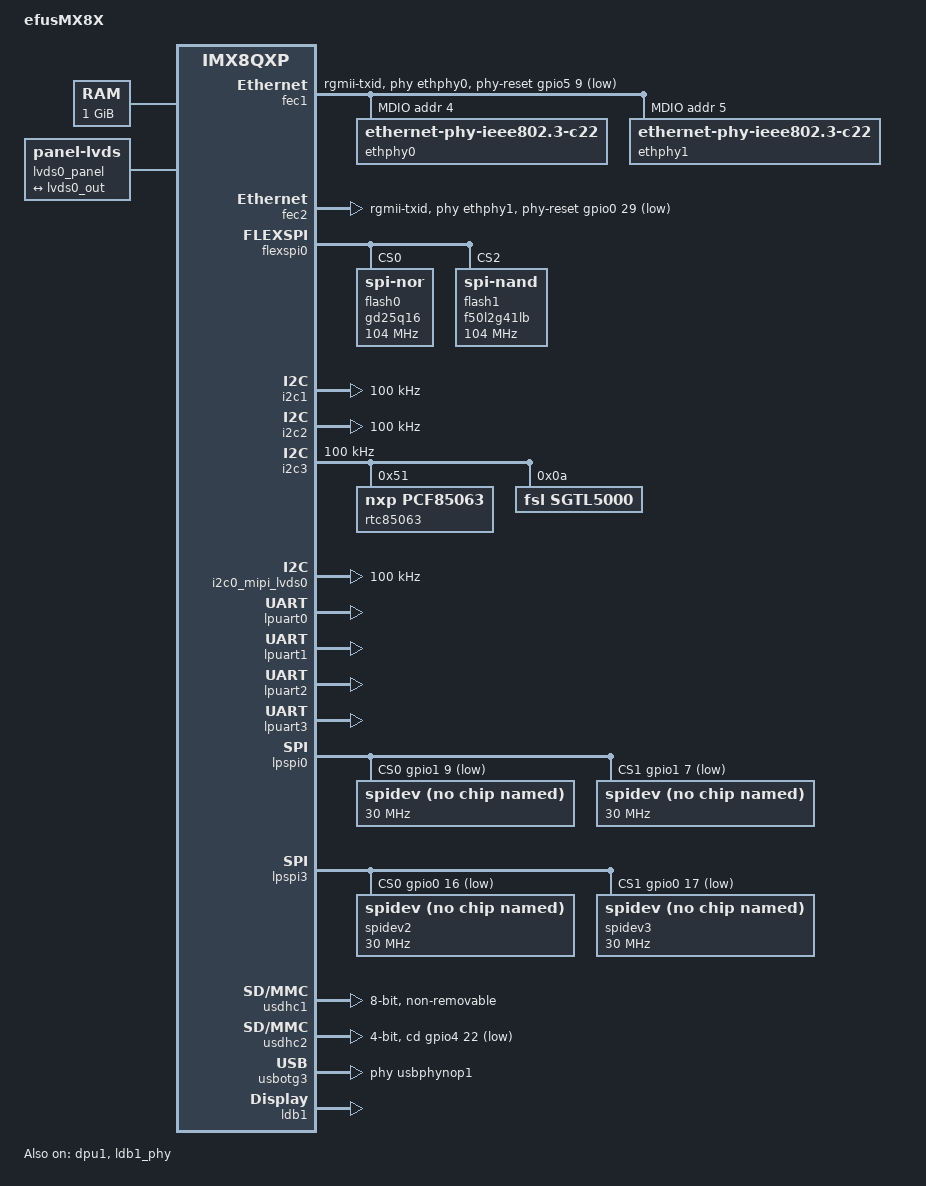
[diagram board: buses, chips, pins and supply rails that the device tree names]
/*
 * Copyright 2017 NXP
 *
 * This program is free software; you can redistribute it and/or
 * modify it under the terms of the GNU General Public License
 * as published by the Free Software Foundation; either version 2
 * of the License, or (at your option) any later version.
 *
 * This program is distributed in the hope that it will be useful,
 * but WITHOUT ANY WARRANTY; without even the implied warranty of
 * MERCHANTABILITY or FITNESS FOR A PARTICULAR PURPOSE.  See the
 * GNU General Public License for more details.
 */

/dts-v1/;

/* First 128KB is for PSCI ATF. */
/* Last 3M is for M4/RPMSG */
/memreserve/ 0x80000000 0x00200000;

#include "fsl-imx8qxp.dtsi"

/ {
	model = "efusMX8X";
	compatible = "fus,efusmx8x", "fsl,imx8qxp";

	chosen {
		bootargs = "console=ttyLP2,115200 earlycon";
		stdout-path = &lpuart2;
	};

	aliases {
		usb0 = &usbg1;
		usb1 = &usbh3;
	};

	memory@80000000 {
		device_type = "memory";
		reg = <0x00000000 0x80000000 0 0x40000000>;
		      /* DRAM space - 1, size : 1 GB DRAM */
	};

	reserved-memory {
		#address-cells = <2>;
		#size-cells = <2>;
		ranges;

		/* global autoconfigured region for contiguous allocations */
		linux,cma {
			compatible = "shared-dma-pool";
			reusable;
			size = <0 0x3c000000>;
			alloc-ranges = <0 0x96000000 0 0x20000000>;
			linux,cma-default;
		};
	};

	regulators {
		u-boot,dm-spl;

		compatible = "simple-bus";
		#address-cells = <1>;
		#size-cells = <0>;
	};

	lvds0_panel {
		compatible = "panel-lvds";
#if 0		
		backlight = <&backlight>;
#endif

		data-mapping = "vesa-24";
		width-mm = <154>;
		height-mm = <86>;

		panel-timing {
			clock-frequency = <33500000>;
			hactive = <800>;
			vactive = <480>;
			hfront-porch = <4>;
			hback-porch = <44>;
			hsync-len = <2>;
			vback-porch = <21>;
			vfront-porch = <11>;
			vsync-len = <2>;
			hsync-active = <0>;
			vsync-active = <0>;
			de-active = <1>;
			pixelclk-active = <0>;
		};

		port {
			panel_lvds0_in: endpoint {
				remote-endpoint = <&lvds0_out>;
			};
		};
	};

	usbg1: usbg1 {
		compatible = "fsl,imx27-usb-gadget";
		dr_mode = "peripheral";
		chipidea,usb = <&usbotg1>;
		status = "okay";
		u-boot,dm-spl;
	};

	usbh3: usbh3 {
		compatible = "Cadence,usb3-host";
		dr_mode = "host";
		cdns3,usb = <&usbotg3>;
		status = "okay";
	};
};

&{/imx8qx-pm} {
	u-boot,dm-spl;
};

&mu {
	u-boot,dm-spl;
};

&clk {
	u-boot,dm-spl;
};

&pd_conn {
	u-boot,dm-spl;
};

&pd_conn_sdch0 {
	u-boot,dm-spl;
};

&pd_conn_usbotg0 {
	u-boot,dm-spl;
};

&pd_conn_usbotg0_phy {
	u-boot,dm-spl;
};

&pd_conn_usb2 {
	u-boot,dm-spl;
};

&pd_conn_usb2_phy {
	u-boot,dm-spl;
};

&pd_dma {
	u-boot,dm-spl;
};

&pd_dma_lpuart2 {
	u-boot,dm-spl;
};

&iomuxc {

	u-boot,dm-spl;

	pinctrl-names = "default";
	pinctrl-0 = <&pinctrl_hog_1>;

	imx8qxp-efusmx8x {

		u-boot,dm-spl;

		pinctrl_hog_1: hoggrp-1 {
			fsl,pins = <
				SC_P_COMP_CTL_GPIO_1V8_3V3_GPIORHB_PAD	0x000514a0
			>;
		};

		pinctrl_fec1: fec1grp {
			fsl,pins = <
				SC_P_COMP_CTL_GPIO_1V8_3V3_ENET_ENETB0_PAD	0x000014a0
				SC_P_COMP_CTL_GPIO_1V8_3V3_ENET_ENETB1_PAD	0x000014a0
				SC_P_ENET0_MDC_CONN_ENET0_MDC				0x06000020
				SC_P_ENET0_MDIO_CONN_ENET0_MDIO				0x06000020
				SC_P_ENET0_RGMII_TX_CTL_CONN_ENET0_RGMII_TX_CTL	0x00000060
				SC_P_ENET0_RGMII_TXC_CONN_ENET0_RGMII_TXC	0x00000060
				SC_P_ENET0_RGMII_TXD0_CONN_ENET0_RGMII_TXD0	0x00000060
				SC_P_ENET0_RGMII_TXD1_CONN_ENET0_RGMII_TXD1	0x00000060
				SC_P_ENET0_RGMII_TXD2_CONN_ENET0_RGMII_TXD2	0x00000060
				SC_P_ENET0_RGMII_TXD3_CONN_ENET0_RGMII_TXD3	0x00000060
				SC_P_ENET0_RGMII_RXC_CONN_ENET0_RGMII_RXC	0x00000060
				SC_P_ENET0_RGMII_RX_CTL_CONN_ENET0_RGMII_RX_CTL	0x00000060
				SC_P_ENET0_RGMII_RXD0_CONN_ENET0_RGMII_RXD0	0x00000060
				SC_P_ENET0_RGMII_RXD1_CONN_ENET0_RGMII_RXD1	0x00000060
				SC_P_ENET0_RGMII_RXD2_CONN_ENET0_RGMII_RXD2	0x00000060
				SC_P_ENET0_RGMII_RXD3_CONN_ENET0_RGMII_RXD3	0x00000060
				SC_P_ENET0_REFCLK_125M_25M_LSIO_GPIO5_IO09  0x00000060
			>;
		};

		pinctrl_fec2: fec2grp {
			fsl,pins = <
				SC_P_ESAI0_SCKR_CONN_ENET1_RGMII_TX_CTL		0x00000060
				SC_P_ESAI0_FSR_CONN_ENET1_RGMII_TXC			0x00000060
				SC_P_ESAI0_TX4_RX1_CONN_ENET1_RGMII_TXD0	0x00000060
				SC_P_ESAI0_TX5_RX0_CONN_ENET1_RGMII_TXD1	0x00000060
				SC_P_ESAI0_FST_CONN_ENET1_RGMII_TXD2		0x00000060
				SC_P_ESAI0_SCKT_CONN_ENET1_RGMII_TXD3		0x00000060
				SC_P_ESAI0_TX0_CONN_ENET1_RGMII_RXC			0x00000060
				SC_P_SPDIF0_TX_CONN_ENET1_RGMII_RX_CTL		0x00000060
				SC_P_SPDIF0_RX_CONN_ENET1_RGMII_RXD0		0x00000060
				SC_P_ESAI0_TX3_RX2_CONN_ENET1_RGMII_RXD1	0x00000060
				SC_P_ESAI0_TX2_RX3_CONN_ENET1_RGMII_RXD2	0x00000060
				SC_P_ESAI0_TX1_CONN_ENET1_RGMII_RXD3		0x00000060
				SC_P_SAI1_RXD_LSIO_GPIO0_IO29				0x00000060
			>;
		};

		pinctrl_lpi2c1: lpi1cgrp {
			fsl,pins = <
				SC_P_USB_SS3_TC1_ADMA_I2C1_SCL	0x06000020
				SC_P_USB_SS3_TC3_ADMA_I2C1_SDA	0x06000020
				SC_P_SPI2_SDI_LSIO_GPIO1_IO02	0x06000020
				SC_P_SPI2_SDO_LSIO_GPIO1_IO01	0x06000020
			>;
		};

		pinctrl_lpi2c2: lpi2cgrp {
			fsl,pins = <
				SC_P_MIPI_DSI1_GPIO0_00_ADMA_I2C2_SCL	0x06000020
				SC_P_MIPI_DSI1_GPIO0_01_ADMA_I2C2_SDA	0x06000020
				SC_P_USDHC1_RESET_B_LSIO_GPIO4_IO19	0x06000020
				SC_P_SPI2_SCK_LSIO_GPIO1_IO03		0x06000020
			>;
		};

		pinctrl_lpi2c2_gpio: lpi2cgpiogrp {
			fsl,pins = <
				SC_P_MIPI_DSI1_GPIO0_00_LSIO_GPIO1_IO31	0x06000020
				SC_P_MIPI_DSI1_GPIO0_01_LSIO_GPIO2_IO00	0x06000020
				SC_P_USDHC1_RESET_B_LSIO_GPIO4_IO19	0x06000020
				SC_P_SPI2_SCK_LSIO_GPIO1_IO03		0x06000020
			>;
		};

		pinctrl_lpi2c3: lpi3cgrp {
			fsl,pins = <
				SC_P_CSI_EN_ADMA_I2C3_SCL	0x06000020
				SC_P_CSI_RESET_ADMA_I2C3_SDA	0x06000020
			>;
		};
/*
		pinctrl_sai0: sai0grp {
			fsl,pins = <
				SC_P_SAI0_TXD_ADMA_SAI0_TXD	0x06000040
				SC_P_SAI0_RXD_ADMA_SAI0_RXD	0x06000040
				SC_P_SAI0_TXC_ADMA_SAI0_TXC	0x06000040
				SC_P_SAI0_TXFS_ADMA_SAI0_TXFS	0x06000040
			>;
		};
*/

        pinctrl_sgtl5000: sgtl5000grp {
            fsl,pins = <
                SC_P_MCLK_OUT0_ADMA_ACM_MCLK_OUT0        0x06000040
                SC_P_SAI0_TXFS_ADMA_SAI0_TXFS        0x06000040
                SC_P_SAI0_TXC_ADMA_SAI0_TXC        0x06000040
                SC_P_SAI0_TXD_ADMA_SAI0_TXD        0x06000040
                SC_P_SAI0_RXD_ADMA_SAI0_RXD        0x06000040
            >;
        };

		pinctrl_lpuart0: lpuart0grp {
			fsl,pins = <
				SC_P_UART0_RX_ADMA_UART0_RX	0x06000020
				SC_P_UART0_TX_ADMA_UART0_TX	0x06000020
				SC_P_FLEXCAN0_TX_ADMA_UART0_CTS_B	0x06000020
				SC_P_FLEXCAN0_RX_ADMA_UART0_RTS_B	0x06000020
			>;
		};

		pinctrl_lpuart1: lpuart1grp {
			fsl,pins = <
				SC_P_UART1_TX_ADMA_UART1_TX		0x06000020
				SC_P_UART1_RX_ADMA_UART1_RX		0x06000020
				SC_P_UART1_RTS_B_ADMA_UART1_RTS_B	0x06000020
				SC_P_UART1_CTS_B_ADMA_UART1_CTS_B	0x06000020
			>;
		};

		pinctrl_lpuart2: lpuart2grp {

			u-boot,dm-spl;

			fsl,pins = <
				SC_P_UART2_RX_ADMA_UART2_RX	0x06000020
				SC_P_UART2_TX_ADMA_UART2_TX	0x06000020
			>;
		};

		pinctrl_lpuart3: lpuart3grp {
			fsl,pins = <
				SC_P_SCU_GPIO0_00_ADMA_UART3_RX	0x06000020
				SC_P_SCU_GPIO0_01_ADMA_UART3_TX	0x06000020
			>;
		};

		pinctrl_usbotg1: usbotg1grp {

			u-boot,dm-spl;

			fsl,pins = <
				SC_P_USB_SS3_TC0_CONN_USB_OTG1_PWR	0x06000020
				SC_P_USB_SS3_TC2_CONN_USB_OTG1_OC	0x06000020
			>;
		};

		pinctrl_usdhc1: usdhc1grp {

			u-boot,dm-spl;

			fsl,pins = <
				SC_P_EMMC0_CLK_CONN_EMMC0_CLK		0x06000041
				SC_P_EMMC0_CMD_CONN_EMMC0_CMD		0x00000021
				SC_P_EMMC0_DATA0_CONN_EMMC0_DATA0	0x00000021
				SC_P_EMMC0_DATA1_CONN_EMMC0_DATA1	0x00000021
				SC_P_EMMC0_DATA2_CONN_EMMC0_DATA2	0x00000021
				SC_P_EMMC0_DATA3_CONN_EMMC0_DATA3	0x00000021
				SC_P_EMMC0_DATA4_CONN_EMMC0_DATA4	0x00000021
				SC_P_EMMC0_DATA5_CONN_EMMC0_DATA5	0x00000021
				SC_P_EMMC0_DATA6_CONN_EMMC0_DATA6	0x00000021
				SC_P_EMMC0_DATA7_CONN_EMMC0_DATA7	0x00000021
				SC_P_EMMC0_STROBE_CONN_EMMC0_STROBE	0x06000041
				SC_P_EMMC0_RESET_B_CONN_EMMC0_RESET_B	0x00000021
			>;
		};

		pinctrl_usdhc1_100mhz: usdhc1grp100mhz {

			u-boot,dm-spl;

			fsl,pins = <
				SC_P_EMMC0_CLK_CONN_EMMC0_CLK		0x06000040
				SC_P_EMMC0_CMD_CONN_EMMC0_CMD		0x00000020
				SC_P_EMMC0_DATA0_CONN_EMMC0_DATA0	0x00000020
				SC_P_EMMC0_DATA1_CONN_EMMC0_DATA1	0x00000020
				SC_P_EMMC0_DATA2_CONN_EMMC0_DATA2	0x00000020
				SC_P_EMMC0_DATA3_CONN_EMMC0_DATA3	0x00000020
				SC_P_EMMC0_DATA4_CONN_EMMC0_DATA4	0x00000020
				SC_P_EMMC0_DATA5_CONN_EMMC0_DATA5	0x00000020
				SC_P_EMMC0_DATA6_CONN_EMMC0_DATA6	0x00000020
				SC_P_EMMC0_DATA7_CONN_EMMC0_DATA7	0x00000020
				SC_P_EMMC0_STROBE_CONN_EMMC0_STROBE	0x06000040
				SC_P_EMMC0_RESET_B_CONN_EMMC0_RESET_B	0x00000020
			>;
		};

		pinctrl_usdhc1_200mhz: usdhc1grp200mhz {

			u-boot,dm-spl;

			fsl,pins = <
				SC_P_EMMC0_CLK_CONN_EMMC0_CLK		0x06000040
				SC_P_EMMC0_CMD_CONN_EMMC0_CMD		0x00000020
				SC_P_EMMC0_DATA0_CONN_EMMC0_DATA0	0x00000020
				SC_P_EMMC0_DATA1_CONN_EMMC0_DATA1	0x00000020
				SC_P_EMMC0_DATA2_CONN_EMMC0_DATA2	0x00000020
				SC_P_EMMC0_DATA3_CONN_EMMC0_DATA3	0x00000020
				SC_P_EMMC0_DATA4_CONN_EMMC0_DATA4	0x00000020
				SC_P_EMMC0_DATA5_CONN_EMMC0_DATA5	0x00000020
				SC_P_EMMC0_DATA6_CONN_EMMC0_DATA6	0x00000020
				SC_P_EMMC0_DATA7_CONN_EMMC0_DATA7	0x00000020
				SC_P_EMMC0_STROBE_CONN_EMMC0_STROBE	0x06000040
				SC_P_EMMC0_RESET_B_CONN_EMMC0_RESET_B	0x00000020
			>;
		};

		pinctrl_usdhc2_gpio: usdhc2gpiogrp {
			fsl,pins = <
				SC_P_USDHC1_WP_LSIO_GPIO4_IO21		0x06000021
				SC_P_USDHC1_CD_B_LSIO_GPIO4_IO22	0x06000021
			>;
		};

		pinctrl_usdhc2: usdhc2grp {
			fsl,pins = <
				SC_P_USDHC1_CLK_CONN_USDHC1_CLK		0x06000041
				SC_P_USDHC1_CMD_CONN_USDHC1_CMD		0x06000021
				SC_P_USDHC1_DATA0_CONN_USDHC1_DATA0	0x06000021
				SC_P_USDHC1_DATA1_CONN_USDHC1_DATA1	0x06000021
				SC_P_USDHC1_DATA2_CONN_USDHC1_DATA2	0x06000021
				SC_P_USDHC1_DATA3_CONN_USDHC1_DATA3	0x06000021
				SC_P_USDHC1_VSELECT_CONN_USDHC1_VSELECT	0x06000021
			>;
		};

		pinctrl_usdhc2_100mhz: usdhc2grp100mhz {
			fsl,pins = <
				SC_P_USDHC1_CLK_CONN_USDHC1_CLK		0x06000040
				SC_P_USDHC1_CMD_CONN_USDHC1_CMD		0x06000020
				SC_P_USDHC1_DATA0_CONN_USDHC1_DATA0	0x06000020
				SC_P_USDHC1_DATA1_CONN_USDHC1_DATA1	0x06000020
				SC_P_USDHC1_DATA2_CONN_USDHC1_DATA2	0x06000020
				SC_P_USDHC1_DATA3_CONN_USDHC1_DATA3	0x06000020
				SC_P_USDHC1_VSELECT_CONN_USDHC1_VSELECT	0x06000020
			>;
		};

		pinctrl_usdhc2_200mhz: usdhc2grp200mhz {
			fsl,pins = <
				SC_P_USDHC1_CLK_CONN_USDHC1_CLK		0x06000040
				SC_P_USDHC1_CMD_CONN_USDHC1_CMD		0x06000020
				SC_P_USDHC1_DATA0_CONN_USDHC1_DATA0	0x06000020
				SC_P_USDHC1_DATA1_CONN_USDHC1_DATA1	0x06000020
				SC_P_USDHC1_DATA2_CONN_USDHC1_DATA2	0x06000020
				SC_P_USDHC1_DATA3_CONN_USDHC1_DATA3	0x06000020
				SC_P_USDHC1_VSELECT_CONN_USDHC1_VSELECT	0x06000020
			>;
		};

		pinctrl_flexspi0: flexspi0grp {
			fsl,pins = <
				SC_P_QSPI0A_DATA0_LSIO_QSPI0A_DATA0		0x0600004c
				SC_P_QSPI0A_DATA1_LSIO_QSPI0A_DATA1		0x0600004c
				SC_P_QSPI0A_DATA2_LSIO_QSPI0A_DATA2		0x0600004c
				SC_P_QSPI0A_DATA3_LSIO_QSPI0A_DATA3		0x0600004c
				SC_P_QSPI0A_SS0_B_LSIO_QSPI0A_SS0_B		0x0600004c
				SC_P_QSPI0A_SCLK_LSIO_QSPI0A_SCLK		0x0600004c
				SC_P_QSPI0B_DATA0_LSIO_QSPI0B_DATA0		0x0600004c
				SC_P_QSPI0B_DATA1_LSIO_QSPI0B_DATA1		0x0600004c
				SC_P_QSPI0B_DATA2_LSIO_QSPI0B_DATA2		0x0600004c
				SC_P_QSPI0B_DATA3_LSIO_QSPI0B_DATA3		0x0600004c
				SC_P_QSPI0B_SS0_B_LSIO_QSPI0B_SS0_B		0x0600004c
				SC_P_QSPI0B_SCLK_LSIO_QSPI0B_SCLK		0x0600004c
			>;
		};

		pinctrl_lpspi0_gpio: lpspi0gpiogrp {
			fsl,pins = <
				SC_P_SPI0_SDI_LSIO_GPIO1_IO05	0x0600004c
				SC_P_SPI0_SDO_LSIO_GPIO1_IO06	0x0600004c
				SC_P_SPI0_SCK_LSIO_GPIO1_IO04	0x0600004c
				SC_P_SPI0_CS0_LSIO_GPIO1_IO08	0x0600004c
				SC_P_SPI0_CS1_LSIO_GPIO1_IO07	0x0600004c
				SC_P_SAI1_RXFS_LSIO_GPIO0_IO31	0x0600004c // IRQ1
				SC_P_CSI_MCLK_LSIO_GPIO3_IO01	0x0600004c // IRQ2
			>;
		};

		pinctrl_lpspi3_gpio: lpspi3gpiogrp {
			fsl,pins = <
				SC_P_SPI3_SDO_LSIO_GPIO0_IO14	0x0600004c
				SC_P_SPI3_SDI_LSIO_GPIO0_IO15	0x0600004c
				SC_P_SPI3_SCK_LSIO_GPIO0_IO13	0x0600004c
				SC_P_SPI3_CS0_LSIO_GPIO0_IO16	0x0600004c
				SC_P_CSI_PCLK_LSIO_GPIO3_IO00	0x0600004c // IRQ1
				SC_P_QSPI0A_DQS_LSIO_GPIO3_IO13	0x0600004c // IRQ2
			>;
		};

		pinctrl_i2c0_mipi_lvds0: mipi_lvds0_i2c0_grp {
			fsl,pins = <
				SC_P_MIPI_DSI0_I2C0_SCL_MIPI_DSI0_I2C0_SCL 0xc6000020
				SC_P_MIPI_DSI0_I2C0_SDA_MIPI_DSI0_I2C0_SDA 0xc6000020
			>;
		};
	};
};

&gpio0 {
	u-boot,dm-spl;
	status = "okay";
};

&gpio3 {
	u-boot,dm-spl;
	status = "okay";
};

&gpio4 {
	u-boot,dm-spl;
	status = "okay";
};

&fec1 {
	pinctrl-names = "default";
	pinctrl-0 = <&pinctrl_fec1>;
	phy-mode = "rgmii-txid";
	phy-handle = <&ethphy0>;
	fsl,magic-packet;
	fsl,rgmii_rxc_dly;
	status = "okay";
	phy-reset-gpios = <&gpio5 9 GPIO_ACTIVE_LOW>;
	phy-reset-duration = <50>;
	phy-reset-post-delay = <200>;

	mdio {
		#address-cells = <1>;
		#size-cells = <0>;

		ethphy0: ethernet-phy@4 {
			compatible = "ethernet-phy-ieee802.3-c22";
			reg = <4>;
			qca,clk-out-frequency = <25000000>;
		};

		ethphy1: ethernet-phy@5 {
			compatible = "ethernet-phy-ieee802.3-c22";
			reg = <5>;
			qca,clk-out-frequency = <25000000>;
		};
	};
};

&fec2 {
	pinctrl-names = "default";
	pinctrl-0 = <&pinctrl_fec2>;
	phy-mode = "rgmii-txid";
	phy-handle = <&ethphy1>;
	fsl,magic-packet;
	fsl,rgmii_rxc_dly;
	status = "okay";
	phy-reset-gpios = <&gpio0 29 GPIO_ACTIVE_LOW>;
	phy-reset-duration = <50>;
	phy-reset-post-delay = <200>;
};

&flexspi0 {
	pinctrl-names = "default";
	pinctrl-0 = <&pinctrl_flexspi0>;
	status = "okay";

	compatible = "nxp,imx8qxp-fspi";
	reg = <0x0 0x5d120000 0x0 0x10000>, <0x0 0x08000000 0x0 0x10000000>;
	reg-names = "fspi_base", "fspi_mmap";
	clocks = <&clk IMX8QXP_LSIO_FSPI0_CLK>,
		<&clk IMX8QXP_LSIO_FSPI0_CLK>;
	clock-names = "fspi", "fspi_en";

	flash0: gd25q16@0 {
		reg = <0>;
		#address-cells = <1>;
		#size-cells = <1>;
		compatible = "jedec,spi-nor";
		spi-max-frequency = <104000000>;
		spi-nor,ddr-quad-read-dummy = <8>;
		spi-tx-bus-width = <2>;
		spi-rx-bus-width = <2>;
	};
	flash1: f50l2g41lb@2 {
		reg = <2>;
		#address-cells = <1>;
		#size-cells = <1>;
		compatible = "spi-nand";
		spi-max-frequency = <104000000>;
		spi-tx-bus-width = <4>;
		spi-rx-bus-width = <4>;
	};
};

&i2c1 {
	clock-frequency = <100000>;
	pinctrl-names = "default";
	pinctrl-0 = <&pinctrl_lpi2c1>;
	status = "okay";
};

&i2c2 {
	clock-frequency = <100000>;
	pinctrl-names = "default", "gpiotest";
	pinctrl-0 = <&pinctrl_lpi2c2>;
	pinctrl-1 = <&pinctrl_lpi2c2_gpio>;
	out-pins = "I2C_B_DAT", "I2C_B_RST";
	out-gpios = <&gpio2 0 0>, <&gpio1 3 0>;
	in-pins = "I2C_B_CLK", "I2C_B_IRQ";
	in-gpios = <&gpio1 31 0>, <&gpio4 19 0>;
	status = "okay";
};

&i2c3 {
	#address-cells = <1>;
	#size-cells = <0>;
	clock-frequency = <100000>;
	pinctrl-names = "default";
	pinctrl-0 = <&pinctrl_lpi2c3>;
	status = "okay";

	rtc85063@51 {
         compatible = "nxp,pcf85063";
         reg = <0x51>;
         status = "okay";
     };

    sgtl5000: sgtl5000@0a {
        compatible = "fsl,sgtl5000";
        /* MCLK is needed for i2c sgtl driver */
        pinctrl-names = "default";
        pinctrl-0 = <&pinctrl_sgtl5000>;
        reg = <0x0a>;
        status = "okay";
    };
};
/*
&sai0 {
	assigned-clocks = <&clk IMX8QXP_AUD_PLL0_DIV>,
			  <&clk IMX8QXP_AUD_ACM_AUD_PLL_CLK0_DIV>,
			  <&clk IMX8QXP_AUD_ACM_AUD_REC_CLK0_DIV>,
			  <&clk IMX8QXP_AUD_SAI_0_MCLK>;
	assigned-clock-rates = <786432000>, <49152000>, <12288000>, <49152000>;
	#sound-dai-cells = <0>;
	pinctrl-names = "default";
	pinctrl-0 = <&pinctrl_sai0>;
	status = "disabled";
};
*/

&i2c0_mipi_lvds0 {
	#address-cells = <1>;
	#size-cells = <0>;
	pinctrl-names = "default";
	pinctrl-0 = <&pinctrl_i2c0_mipi_lvds0>;
	clock-frequency = <100000>;
	status = "okay";
};

&lpuart0 {
	pinctrl-names = "default";
	pinctrl-0 = <&pinctrl_lpuart0>;
	status = "okay";
};

&lpuart1 {
	pinctrl-names = "default";
	pinctrl-0 = <&pinctrl_lpuart1>;
	linux,rs485-enabled;
	status = "okay";
};

&lpuart2 {

	u-boot,dm-spl;

	pinctrl-names = "default";
	pinctrl-0 = <&pinctrl_lpuart2>;
	status = "okay";
};

&lpuart3 {
	pinctrl-names = "default";
	pinctrl-0 = <&pinctrl_lpuart3>;
	status = "okay";
};

&lpspi0 {
	#address-cells = <1>;
	#size-cells = <0>;
	fsl,spi-num-chipselects = <2>;
	pinctrl-names = "gpiotest";
	pinctrl-0 = <&pinctrl_lpspi0_gpio>;
	out-pins = "SPI_A_MOSI", "SPI_A_CS1";
	out-gpios = <&gpio1 6 0>, <&gpio1 8 0>;
	in-pins = "SPI_A_MISO", "SPI_A_SCK";
	in-gpios = <&gpio1 5 0>, <&gpio1 4 0>;
/*** KM-2019-11-15: Set clock-rate from 20MHz to 60MHz to ensure maximum SPI clk rates of 30MHz ***/
	assigned-clock-rates = <60000000>;
	cs-gpios = <&gpio1 9 GPIO_ACTIVE_LOW>, <&gpio1 7 GPIO_ACTIVE_LOW>;
	status = "okay";

/*** KM-2019-11-15: compatible = "rohm,dh2228fv" is the "quick and dirty" solution to disable spidev warnings ***/
/***                source: https://yurovsky.github.io/2016/10/07/spidev-linux-devices.html                   ***/
	spidev@0 {
		#address-cells = <1>;
		#size-cells = <1>;
		compatible = "rohm,dh2228fv";
		spi-max-frequency = <30000000>;
		reg = <0>;
	};

	spidev@1 {
		#address-cells = <1>;
		#size-cells = <1>;
		compatible = "rohm,dh2228fv";
		spi-max-frequency = <30000000>;
		reg = <1>;
	};
};

&lpspi3 {
	#address-cells = <1>;
	#size-cells = <0>;
	fsl,spi-num-chipselects = <2>;
	pinctrl-names = "gpiotest";
	pinctrl-0 = <&pinctrl_lpspi3_gpio>;
	assigned-clock-rates = <60000000>;
	cs-gpios = <&gpio0 16 GPIO_ACTIVE_LOW>, <&gpio0 17 GPIO_ACTIVE_LOW>;
	status = "okay";

	spidev2: spi@0 {
		reg = <0>;
		compatible = "rohm,dh2228fv";
		spi-max-frequency = <30000000>;
	};
	spidev3: spi@1 {
		reg = <1>;
		compatible = "rohm,dh2228fv";
		spi-max-frequency = <30000000>;
	};
};

&usdhc1 {

	u-boot,dm-spl;

	pinctrl-names = "default", "state_100mhz", "state_200mhz";
	pinctrl-0 = <&pinctrl_usdhc1>;
	pinctrl-1 = <&pinctrl_usdhc1_100mhz>;
	pinctrl-2 = <&pinctrl_usdhc1_200mhz>;
	bus-width = <8>;
	non-removable;
	status = "okay";
};

&usdhc2 {
	pinctrl-names = "default", "state_100mhz", "state_200mhz";
	pinctrl-0 = <&pinctrl_usdhc2>, <&pinctrl_usdhc2_gpio>;
	pinctrl-1 = <&pinctrl_usdhc2_100mhz>, <&pinctrl_usdhc2_gpio>;
	pinctrl-2 = <&pinctrl_usdhc2_200mhz>, <&pinctrl_usdhc2_gpio>;
	bus-width = <4>;
	cd-gpios = <&gpio4 22 GPIO_ACTIVE_LOW>;
	status = "okay";
};

&usbmisc1 {
	u-boot,dm-spl;
};

&usbphy1 {
	u-boot,dm-spl;
};

&usbotg1 {
	pinctrl-names = "default";
	pinctrl-0 = <&pinctrl_usbotg1>;
	u-boot,dm-spl;
};

&usbphynop1 {
	compatible = "cdns,usb3-phy";
	reg = <0x0 0x5B160000 0x0 0x40000>;
	#phy-cells = <0>;
	u-boot,dm-spl;
};

&usbotg3 {
	phys = <&usbphynop1>;
	u-boot,dm-spl;
};

&wu {
	u-boot,dm-spl;
};

&dpu1 {
	status = "okay";
};

&ldb1_phy {
	status = "okay";
};

&ldb1 {
	status = "okay";

	lvds-channel@0 {
		fsl,data-mapping = "jeida";
		fsl,data-width = <24>;
		status = "okay";

		display-timings {
			native-mode = <&timing0>;

			timing0: timing0 {
			clock-frequency = <33500000>;
			hactive = <800>;
			vactive = <480>;
			hfront-porch = <4>;
			hback-porch = <44>;
			hsync-len = <2>;
			vback-porch = <21>;
			vfront-porch = <11>;
			vsync-len = <2>;
			hsync-active = <0>;
			vsync-active = <0>;
			de-active = <1>;
			pixelclk-active = <0>;
			};
		};

		port@1 {
			reg = <1>;

			lvds0_out: endpoint {
				remote-endpoint = <&panel_lvds0_in>;
			};
		};
	};
};
